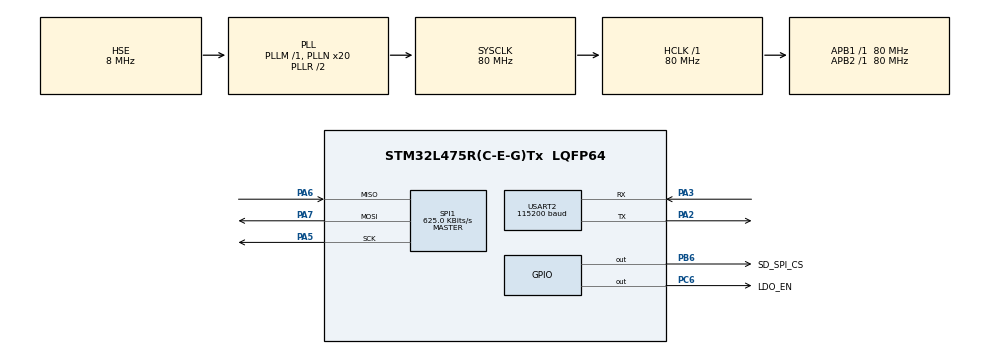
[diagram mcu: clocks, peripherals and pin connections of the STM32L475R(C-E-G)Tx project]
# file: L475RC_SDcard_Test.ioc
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FATFS._MAX_SS=4096
IWDG.Prescaler=IWDG_PRESCALER_64
Mcu.Family=STM32L4
Mcu.Name=STM32L475R(C-E-G)Tx
Mcu.Package=LQFP64
NVIC.PriorityGroup=NVIC_PRIORITYGROUP_4
PA13\ (JTMS-SWDIO).Mode=Serial_Wire
PA13\ (JTMS-SWDIO).Signal=SYS_JTMS-SWDIO
PA14\ (JTCK-SWCLK).Mode=Serial_Wire
PA14\ (JTCK-SWCLK).Signal=SYS_JTCK-SWCLK
PA2.Mode=Asynchronous
PA2.Signal=USART2_TX
PA3.Mode=Asynchronous
PA3.Signal=USART2_RX
PA5.Mode=Full_Duplex_Master
PA5.Signal=SPI1_SCK
PA6.Mode=Full_Duplex_Master
PA6.Signal=SPI1_MISO
PA7.Mode=Full_Duplex_Master
PA7.Signal=SPI1_MOSI
PB6.GPIO_FM6=I2C_FASTMODEPLUS_PB6
PB6.GPIO_Label=SD_SPI_CS
PB6.GPIO_Speed=GPIO_SPEED_FREQ_HIGH
PB6.PinState=GPIO_PIN_SET
PB6.Signal=GPIO_Output
PB8.GPIO_Pu=GPIO_NOPULL
PB8.GPIO_Speed=GPIO_SPEED_FREQ_HIGH
PB8.Signal=I2C1_SCL
PB9.GPIO_Pu=GPIO_NOPULL
PB9.GPIO_Speed=GPIO_SPEED_FREQ_HIGH
PB9.Signal=I2C1_SDA
PC6.GPIO_Label=LDO_EN
PC6.GPIO_PuPd=GPIO_PULLUP
PC6.Signal=GPIO_Output
PH0-OSC_IN\ (PH0).Mode=HSE-External-Oscillator
PH0-OSC_IN\ (PH0).Signal=RCC_OSC_IN
PH1-OSC_OUT\ (PH1).Mode=HSE-External-Oscillator
PH1-OSC_OUT\ (PH1).Signal=RCC_OSC_OUT
ProjectManager.HeapSize=0x400
ProjectManager.StackSize=0x800
ProjectManager.TargetToolchain=STM32CubeIDE
RCC.ADCFreq_Value=32000000
RCC.AHBFreq_Value=80000000
RCC.APB1Freq_Value=80000000
RCC.APB1TimFreq_Value=80000000
RCC.APB2Freq_Value=80000000
RCC.APB2TimFreq_Value=80000000
RCC.CortexFreq_Value=80000000
RCC.HCLKFreq_Value=80000000
RCC.HSE_VALUE=8000000
RCC.HSI_VALUE=16000000
RCC.I2C1CLockSelection=RCC_I2C1CLKSOURCE_SYSCLK
RCC.LSE_VALUE=32768
RCC.MSIClockRange=RCC_MSIRANGE_2
RCC.MSI_VALUE=400000
RCC.PLLN=20
RCC.PLLSourceVirtual=RCC_PLLSOURCE_HSE
RCC.RTCClockSelection=RCC_RTCCLKSOURCE_LSE
RCC.SYSCLKFreq_VALUE=80000000
RCC.SYSCLKSource=RCC_SYSCLKSOURCE_PLLCLK
RCC.USART2CLockSelection=RCC_USART2CLKSOURCE_SYSCLK
RCC.USBFreq_Value=32000000
RCC.VCOOutputFreq_Value=160000000
SPI1.BaudRatePrescaler=SPI_BAUDRATEPRESCALER_128
SPI1.CalculateBaudRate=625.0 KBits/s
SPI1.DataSize=SPI_DATASIZE_8BIT
SPI1.Direction=SPI_DIRECTION_2LINES
SPI1.Mode=SPI_MODE_MASTER
SPI1.VirtualType=VM_MASTER
USART2.BaudRate=115200
USART2.Mode=MODE_TX
USART2.VirtualMode-Asynchronous=VM_ASYNC
VP_FATFS_VS_Generic.Mode=User_defined
VP_IWDG_VS_IWDG.Mode=IWDG_Activate
board=custom

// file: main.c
/* USER CODE BEGIN Header */
/**
 ******************************************************************************
 * Project: L475-IMU-Logger_v1.2
 * FSK communication: UART2
 * IMU: SPI1
 * MicroSD card: SPI1
 * RTC : I2C2
 *
 ******************************************************************************
 */
/* USER CODE END Header */
#include "main.h"
#include "fatfs.h"

/* USER CODE BEGIN Includes */

#include <stdio.h>

/* USER CODE END Includes */

IWDG_HandleTypeDef hiwdg;

SPI_HandleTypeDef hspi1;

UART_HandleTypeDef huart2;

/* USER CODE BEGIN PV */

uint16_t subsec = 0;

uint16_t m = 0;
uint16_t time_ms = 0;
uint16_t t_ms = 0;
uint16_t time_s = 0;

uint16_t total_n_sample = 0;

int16_t data_buff[BUFF_LENGTH];
int16_t value = 0;
uint16_t array_len = 0;

/* USER CODE END PV */

void SystemClock_Config(void);
static void MX_GPIO_Init(void);
static void MX_USART2_UART_Init(void);
static void MX_SPI1_Init(void);
static void MX_IWDG_Init(void);

/* USER CODE BEGIN 0 */

int _write(int file, char *ptr, int len) {
	HAL_UART_Transmit(&huart2, (uint8_t*) ptr, len, 0xffffff);
	return len;
}

/* USER CODE END 0 */

int main(void)
{

  /* MCU Configuration--------------------------------------------------------*/

  /* Reset of all peripherals, Initializes the Flash interface and the Systick. */
  HAL_Init();

  /* Configure the system clock */
  SystemClock_Config();

  /* Initialize all configured peripherals */
  MX_GPIO_Init();
  MX_USART2_UART_Init();
  MX_FATFS_Init();
  MX_SPI1_Init();
  MX_IWDG_Init();
  /* USER CODE BEGIN 2 */

	printf("\n=======================\n");

  /* USER CODE END 2 */

  /* Infinite loop */
  /* USER CODE BEGIN WHILE */

	/************* START THE OPERATION *************/
	while (1) {

		data_buff[0] = 31313; // -32768 to 32767
		data_buff[1] = 31212; // -32768 to 32767

		array_len = 2;
		while (array_len < BUFF_LENGTH) {
			value++;
			data_buff[array_len++] = value; // No need for two's complement
		}
		total_n_sample = array_len / 3;

		printf("len: %d\n", array_len); // Including timestamp
		printf("N samples: %d\n", total_n_sample); // total number of data samples (~12875)
		printf("Duration: %ds ~ %.1fm\n", total_n_sample / IMU_SAMPLING,
				total_n_sample / IMU_SAMPLING / 60.0f);

		HAL_IWDG_Refresh(&hiwdg);

		// SDcard Writing -------------------

		SetPin(LDO_EN_GPIO_Port, LDO_EN_Pin, OnLDO);
		HAL_Delay(200);

		// Select SD_SPI_CS
		SetPin(SD_SPI_CS_GPIO_Port, SD_SPI_CS_Pin, OnSPI);
		t_ms = 0;

		FATFS FatFs; 		//Fatfs handle
		FIL file; 			//File handle
		FRESULT result;		//Result after operations
		DWORD fileSize;		// File size checking

		// Mount the file system
		result = f_mount(&FatFs, "", 1); //1=mount now
		if (result == FR_OK) {
			// Open the file
			// result = f_open(&file, "rtest.txt", FA_OPEN_APPEND | FA_READ | FA_WRITE); // EDITED
			result = f_open(&file, "rtest.txt", FA_OPEN_APPEND | FA_WRITE); // HV: worked, need to test more
			if (result == FR_OK) {

				// Check file size
				fileSize = f_size(&file);
				printf("File size: %ld MB\n", fileSize >> 20);

				printf("Writing...\n");
				UINT bytesWritten;
				result = f_write(&file, data_buff, sizeof(data_buff), &bytesWritten);

				f_close(&file); // Close the file

				if (result == FR_OK) {
					printf("Wrote: %i kB\n", bytesWritten >> 10);
				}
				else {
					printf("write file error (%i)\n", result);
				}
			}
			else {
				printf("Open file error (%i)\r\n", result);
			}
		}
		else {
			printf("Mount error (%i)\r\n", result);
		}

//		SD card write time at SPI 20 MHz:
//		○ 316 kB: 5.3 s
//		○ 237 kB: 4.4 s

		printf("Write time: %.3f s\n", t_ms/1000.0f);
		SetPin(SD_SPI_CS_GPIO_Port, SD_SPI_CS_Pin, OffSPI);
		SetPin(LDO_EN_GPIO_Port, LDO_EN_Pin, OffLDO);

		HAL_Delay(200);
		NVIC_SystemReset(); // System reset

		//		memset(data_buff, 0, sizeof data_buff); // Emptying the char arrays

    /* USER CODE END WHILE */

	}
}

void SystemClock_Config(void)
{
  RCC_OscInitTypeDef RCC_OscInitStruct = {0};
  RCC_ClkInitTypeDef RCC_ClkInitStruct = {0};

  /** Configure the main internal regulator output voltage
  */
  if (HAL_PWREx_ControlVoltageScaling(PWR_REGULATOR_VOLTAGE_SCALE1) != HAL_OK)
  {
    Error_Handler();
  }
  /** Initializes the RCC Oscillators according to the specified parameters
  * in the RCC_OscInitTypeDef structure.
  */
  RCC_OscInitStruct.OscillatorType = RCC_OSCILLATORTYPE_LSI|RCC_OSCILLATORTYPE_HSE;
  RCC_OscInitStruct.HSEState = RCC_HSE_ON;
  RCC_OscInitStruct.LSIState = RCC_LSI_ON;
  RCC_OscInitStruct.PLL.PLLState = RCC_PLL_ON;
  RCC_OscInitStruct.PLL.PLLSource = RCC_PLLSOURCE_HSE;
  RCC_OscInitStruct.PLL.PLLM = 1;
  RCC_OscInitStruct.PLL.PLLN = 20;
  RCC_OscInitStruct.PLL.PLLP = RCC_PLLP_DIV7;
  RCC_OscInitStruct.PLL.PLLQ = RCC_PLLQ_DIV2;
  RCC_OscInitStruct.PLL.PLLR = RCC_PLLR_DIV2;
  if (HAL_RCC_OscConfig(&RCC_OscInitStruct) != HAL_OK)
  {
    Error_Handler();
  }
  /** Initializes the CPU, AHB and APB buses clocks
  */
  RCC_ClkInitStruct.ClockType = RCC_CLOCKTYPE_HCLK|RCC_CLOCKTYPE_SYSCLK
                              |RCC_CLOCKTYPE_PCLK1|RCC_CLOCKTYPE_PCLK2;
  RCC_ClkInitStruct.SYSCLKSource = RCC_SYSCLKSOURCE_PLLCLK;
  RCC_ClkInitStruct.AHBCLKDivider = RCC_SYSCLK_DIV1;
  RCC_ClkInitStruct.APB1CLKDivider = RCC_HCLK_DIV1;
  RCC_ClkInitStruct.APB2CLKDivider = RCC_HCLK_DIV1;

  if (HAL_RCC_ClockConfig(&RCC_ClkInitStruct, FLASH_LATENCY_4) != HAL_OK)
  {
    Error_Handler();
  }
}

static void MX_IWDG_Init(void)
{

  hiwdg.Instance = IWDG;
  hiwdg.Init.Prescaler = IWDG_PRESCALER_64;
  hiwdg.Init.Window = 4095;
  hiwdg.Init.Reload = 4095;
  if (HAL_IWDG_Init(&hiwdg) != HAL_OK)
  {
    Error_Handler();
  }

}

static void MX_SPI1_Init(void)
{

  /* SPI1 parameter configuration*/
  hspi1.Instance = SPI1;
  hspi1.Init.Mode = SPI_MODE_MASTER;
  hspi1.Init.Direction = SPI_DIRECTION_2LINES;
  hspi1.Init.DataSize = SPI_DATASIZE_8BIT;
  hspi1.Init.CLKPolarity = SPI_POLARITY_LOW;
  hspi1.Init.CLKPhase = SPI_PHASE_1EDGE;
  hspi1.Init.NSS = SPI_NSS_SOFT;
  hspi1.Init.BaudRatePrescaler = SPI_BAUDRATEPRESCALER_128;
  hspi1.Init.FirstBit = SPI_FIRSTBIT_MSB;
  hspi1.Init.TIMode = SPI_TIMODE_DISABLE;
  hspi1.Init.CRCCalculation = SPI_CRCCALCULATION_DISABLE;
  hspi1.Init.CRCPolynomial = 7;
  hspi1.Init.CRCLength = SPI_CRC_LENGTH_DATASIZE;
  hspi1.Init.NSSPMode = SPI_NSS_PULSE_ENABLE;
  if (HAL_SPI_Init(&hspi1) != HAL_OK)
  {
    Error_Handler();
  }

}

static void MX_USART2_UART_Init(void)
{

  huart2.Instance = USART2;
  huart2.Init.BaudRate = 115200;
  huart2.Init.WordLength = UART_WORDLENGTH_8B;
  huart2.Init.StopBits = UART_STOPBITS_1;
  huart2.Init.Parity = UART_PARITY_NONE;
  huart2.Init.Mode = UART_MODE_TX;
  huart2.Init.HwFlowCtl = UART_HWCONTROL_NONE;
  huart2.Init.OverSampling = UART_OVERSAMPLING_16;
  huart2.Init.OneBitSampling = UART_ONE_BIT_SAMPLE_DISABLE;
  huart2.AdvancedInit.AdvFeatureInit = UART_ADVFEATURE_NO_INIT;
  if (HAL_UART_Init(&huart2) != HAL_OK)
  {
    Error_Handler();
  }

}

static void MX_GPIO_Init(void)
{
  GPIO_InitTypeDef GPIO_InitStruct = {0};

  /* GPIO Ports Clock Enable */
  __HAL_RCC_GPIOH_CLK_ENABLE();
  __HAL_RCC_GPIOA_CLK_ENABLE();
  __HAL_RCC_GPIOC_CLK_ENABLE();
  __HAL_RCC_GPIOB_CLK_ENABLE();

  /*Configure GPIO pin Output Level */
  HAL_GPIO_WritePin(LDO_EN_GPIO_Port, LDO_EN_Pin, GPIO_PIN_RESET);

  /*Configure GPIO pin Output Level */
  HAL_GPIO_WritePin(SD_SPI_CS_GPIO_Port, SD_SPI_CS_Pin, GPIO_PIN_SET);

  /*Configure GPIO pin : LDO_EN_Pin */
  GPIO_InitStruct.Pin = LDO_EN_Pin;
  GPIO_InitStruct.Mode = GPIO_MODE_OUTPUT_PP;
  GPIO_InitStruct.Pull = GPIO_PULLUP;
  GPIO_InitStruct.Speed = GPIO_SPEED_FREQ_LOW;
  HAL_GPIO_Init(LDO_EN_GPIO_Port, &GPIO_InitStruct);

  /*Configure GPIO pin : SD_SPI_CS_Pin */
  GPIO_InitStruct.Pin = SD_SPI_CS_Pin;
  GPIO_InitStruct.Mode = GPIO_MODE_OUTPUT_PP;
  GPIO_InitStruct.Pull = GPIO_NOPULL;
  GPIO_InitStruct.Speed = GPIO_SPEED_FREQ_HIGH;
  HAL_GPIO_Init(SD_SPI_CS_GPIO_Port, &GPIO_InitStruct);

  /*Configure GPIO pins : PB8 PB9 */
  GPIO_InitStruct.Pin = GPIO_PIN_8|GPIO_PIN_9;
  GPIO_InitStruct.Mode = GPIO_MODE_AF_OD;
  GPIO_InitStruct.Pull = GPIO_NOPULL;
  GPIO_InitStruct.Speed = GPIO_SPEED_FREQ_HIGH;
  GPIO_InitStruct.Alternate = GPIO_AF4_I2C1;
  HAL_GPIO_Init(GPIOB, &GPIO_InitStruct);

  /**/
  HAL_I2CEx_EnableFastModePlus(I2C_FASTMODEPLUS_PB6);

}

void Error_Handler(void)
{
	__disable_irq();
	while (1) {
	}
}

/************************ (C) COPYRIGHT STMicroelectronics *****END OF FILE****/
